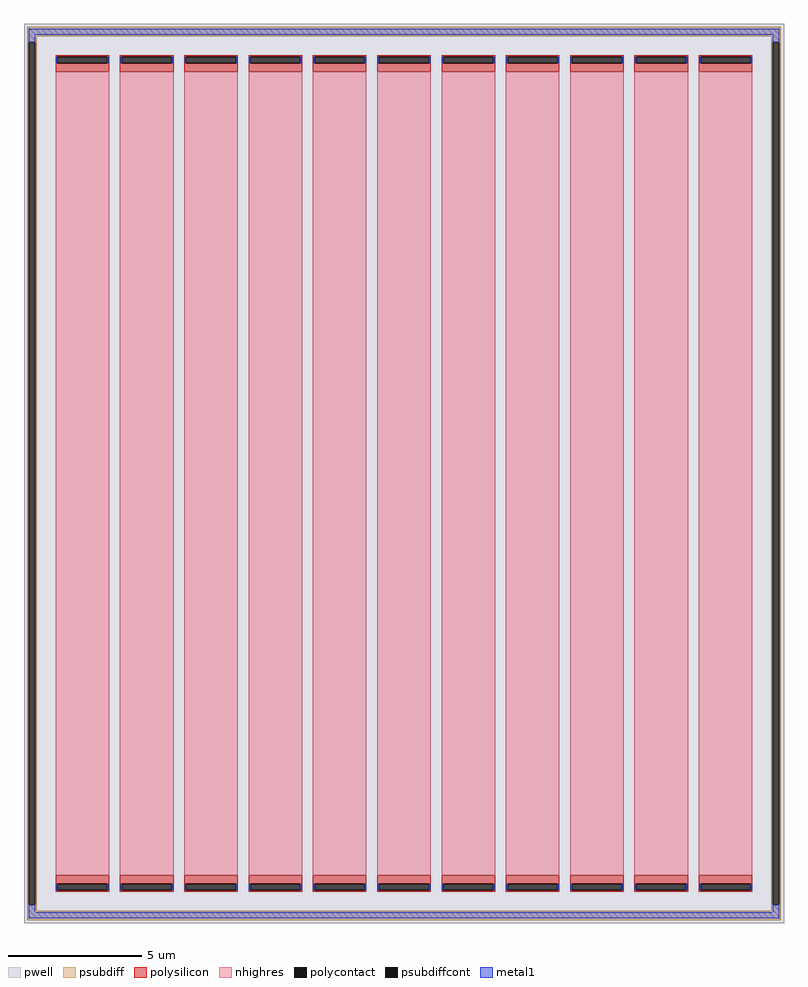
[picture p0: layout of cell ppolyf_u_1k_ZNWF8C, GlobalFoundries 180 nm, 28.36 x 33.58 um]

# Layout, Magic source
magic
tech gf180mcuD
magscale 1 10
<< pwell >>
rect -2836 -3358 2836 3358
<< psubdiff >>
rect -2812 3262 2812 3334
rect -2812 3218 -2740 3262
rect -2812 -3218 -2799 3218
rect -2753 -3218 -2740 3218
rect 2740 3218 2812 3262
rect -2812 -3262 -2740 -3218
rect 2740 -3218 2753 3218
rect 2799 -3218 2812 3218
rect 2740 -3262 2812 -3218
rect -2812 -3334 2812 -3262
<< psubdiffcont >>
rect -2799 -3218 -2753 3218
rect 2753 -3218 2799 3218
<< polysilicon >>
rect -2600 3109 -2200 3122
rect -2600 3063 -2587 3109
rect -2213 3063 -2200 3109
rect -2600 3000 -2200 3063
rect -2600 -3063 -2200 -3000
rect -2600 -3109 -2587 -3063
rect -2213 -3109 -2200 -3063
rect -2600 -3122 -2200 -3109
rect -2120 3109 -1720 3122
rect -2120 3063 -2107 3109
rect -1733 3063 -1720 3109
rect -2120 3000 -1720 3063
rect -2120 -3063 -1720 -3000
rect -2120 -3109 -2107 -3063
rect -1733 -3109 -1720 -3063
rect -2120 -3122 -1720 -3109
rect -1640 3109 -1240 3122
rect -1640 3063 -1627 3109
rect -1253 3063 -1240 3109
rect -1640 3000 -1240 3063
rect -1640 -3063 -1240 -3000
rect -1640 -3109 -1627 -3063
rect -1253 -3109 -1240 -3063
rect -1640 -3122 -1240 -3109
rect -1160 3109 -760 3122
rect -1160 3063 -1147 3109
rect -773 3063 -760 3109
rect -1160 3000 -760 3063
rect -1160 -3063 -760 -3000
rect -1160 -3109 -1147 -3063
rect -773 -3109 -760 -3063
rect -1160 -3122 -760 -3109
rect -680 3109 -280 3122
rect -680 3063 -667 3109
rect -293 3063 -280 3109
rect -680 3000 -280 3063
rect -680 -3063 -280 -3000
rect -680 -3109 -667 -3063
rect -293 -3109 -280 -3063
rect -680 -3122 -280 -3109
rect -200 3109 200 3122
rect -200 3063 -187 3109
rect 187 3063 200 3109
rect -200 3000 200 3063
rect -200 -3063 200 -3000
rect -200 -3109 -187 -3063
rect 187 -3109 200 -3063
rect -200 -3122 200 -3109
rect 280 3109 680 3122
rect 280 3063 293 3109
rect 667 3063 680 3109
rect 280 3000 680 3063
rect 280 -3063 680 -3000
rect 280 -3109 293 -3063
rect 667 -3109 680 -3063
rect 280 -3122 680 -3109
rect 760 3109 1160 3122
rect 760 3063 773 3109
rect 1147 3063 1160 3109
rect 760 3000 1160 3063
rect 760 -3063 1160 -3000
rect 760 -3109 773 -3063
rect 1147 -3109 1160 -3063
rect 760 -3122 1160 -3109
rect 1240 3109 1640 3122
rect 1240 3063 1253 3109
rect 1627 3063 1640 3109
rect 1240 3000 1640 3063
rect 1240 -3063 1640 -3000
rect 1240 -3109 1253 -3063
rect 1627 -3109 1640 -3063
rect 1240 -3122 1640 -3109
rect 1720 3109 2120 3122
rect 1720 3063 1733 3109
rect 2107 3063 2120 3109
rect 1720 3000 2120 3063
rect 1720 -3063 2120 -3000
rect 1720 -3109 1733 -3063
rect 2107 -3109 2120 -3063
rect 1720 -3122 2120 -3109
rect 2200 3109 2600 3122
rect 2200 3063 2213 3109
rect 2587 3063 2600 3109
rect 2200 3000 2600 3063
rect 2200 -3063 2600 -3000
rect 2200 -3109 2213 -3063
rect 2587 -3109 2600 -3063
rect 2200 -3122 2600 -3109
<< polycontact >>
rect -2587 3063 -2213 3109
rect -2587 -3109 -2213 -3063
rect -2107 3063 -1733 3109
rect -2107 -3109 -1733 -3063
rect -1627 3063 -1253 3109
rect -1627 -3109 -1253 -3063
rect -1147 3063 -773 3109
rect -1147 -3109 -773 -3063
rect -667 3063 -293 3109
rect -667 -3109 -293 -3063
rect -187 3063 187 3109
rect -187 -3109 187 -3063
rect 293 3063 667 3109
rect 293 -3109 667 -3063
rect 773 3063 1147 3109
rect 773 -3109 1147 -3063
rect 1253 3063 1627 3109
rect 1253 -3109 1627 -3063
rect 1733 3063 2107 3109
rect 1733 -3109 2107 -3063
rect 2213 3063 2587 3109
rect 2213 -3109 2587 -3063
<< nhighres >>
rect -2600 -3000 -2200 3000
rect -2120 -3000 -1720 3000
rect -1640 -3000 -1240 3000
rect -1160 -3000 -760 3000
rect -680 -3000 -280 3000
rect -200 -3000 200 3000
rect 280 -3000 680 3000
rect 760 -3000 1160 3000
rect 1240 -3000 1640 3000
rect 1720 -3000 2120 3000
rect 2200 -3000 2600 3000
<< metal1 >>
rect -2799 3275 2799 3321
rect -2799 3218 -2753 3275
rect 2753 3218 2799 3275
rect -2598 3063 -2587 3109
rect -2213 3063 -2202 3109
rect -2118 3063 -2107 3109
rect -1733 3063 -1722 3109
rect -1638 3063 -1627 3109
rect -1253 3063 -1242 3109
rect -1158 3063 -1147 3109
rect -773 3063 -762 3109
rect -678 3063 -667 3109
rect -293 3063 -282 3109
rect -198 3063 -187 3109
rect 187 3063 198 3109
rect 282 3063 293 3109
rect 667 3063 678 3109
rect 762 3063 773 3109
rect 1147 3063 1158 3109
rect 1242 3063 1253 3109
rect 1627 3063 1638 3109
rect 1722 3063 1733 3109
rect 2107 3063 2118 3109
rect 2202 3063 2213 3109
rect 2587 3063 2598 3109
rect -2598 -3109 -2587 -3063
rect -2213 -3109 -2202 -3063
rect -2118 -3109 -2107 -3063
rect -1733 -3109 -1722 -3063
rect -1638 -3109 -1627 -3063
rect -1253 -3109 -1242 -3063
rect -1158 -3109 -1147 -3063
rect -773 -3109 -762 -3063
rect -678 -3109 -667 -3063
rect -293 -3109 -282 -3063
rect -198 -3109 -187 -3063
rect 187 -3109 198 -3063
rect 282 -3109 293 -3063
rect 667 -3109 678 -3063
rect 762 -3109 773 -3063
rect 1147 -3109 1158 -3063
rect 1242 -3109 1253 -3063
rect 1627 -3109 1638 -3063
rect 1722 -3109 1733 -3063
rect 2107 -3109 2118 -3063
rect 2202 -3109 2213 -3063
rect 2587 -3109 2598 -3063
rect -2799 -3275 -2753 -3218
rect 2753 -3275 2799 -3218
rect -2799 -3321 2799 -3275
<< properties >>
string FIXED_BBOX -2776 -3298 2776 3298
string gencell ppolyf_u_1k
string library gf180mcu
string parameters w 2.0 l 30.0 m 1 nx 11 wmin 1.000 lmin 1.000 class resistor rho 1000 val 15.0k dummy 0 dw 0.0 term 0.0 sterm 0.0 caplen 0.4 snake 0 glc 1 grc 1 gtc 0 gbc 0 roverlap 0 endcov 100 full_metal 1 compatible {ppolyf_u_1k ppolyf_u_1k_6p0}
<< end >>
